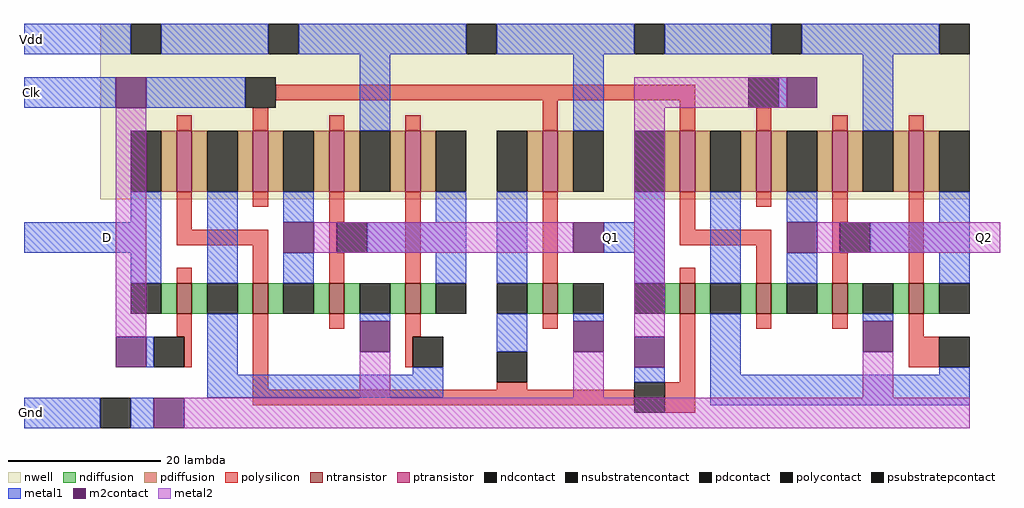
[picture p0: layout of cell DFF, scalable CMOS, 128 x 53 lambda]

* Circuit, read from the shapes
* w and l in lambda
.subckt DFF Clk D Gnd Q1 Q2 Vdd
M1 n1 Clk D Gnd nfet w=4 l=2
M2 Q1 n2 n1 Gnd nfet w=4 l=2
M3 Gnd n3 Q1 Gnd nfet w=4 l=2
M4 n3 n1 Gnd Gnd nfet w=4 l=2
M5 Gnd Clk n2 Gnd nfet w=4 l=2
M6 n4 n2 Q1 Gnd nfet w=4 l=2
M7 Q2 Clk n4 Gnd nfet w=4 l=2
M8 Gnd n5 Q2 Gnd nfet w=4 l=2
M9 n5 n4 Gnd Gnd nfet w=4 l=2
M10 n1 n2 D Vdd pfet w=8 l=2
M11 Q1 Clk n1 Vdd pfet w=8 l=2
M12 Vdd n3 Q1 Vdd pfet w=8 l=2
M13 n3 n1 Vdd Vdd pfet w=8 l=2
M14 Vdd Clk n2 Vdd pfet w=8 l=2
M15 n4 Clk Q1 Vdd pfet w=8 l=2
M16 Q2 n2 n4 Vdd pfet w=8 l=2
M17 Vdd n5 Q2 Vdd pfet w=8 l=2
M18 n5 n4 Vdd Vdd pfet w=8 l=2
.ends

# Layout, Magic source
magic
tech scmos
<< nwell >>
rect 147 56 261 79
<< polysilicon >>
rect 170 69 225 71
rect 157 65 159 67
rect 167 65 169 68
rect 177 65 179 67
rect 187 65 189 67
rect 205 65 207 69
rect 223 65 225 69
rect 233 65 235 68
rect 243 65 245 67
rect 253 65 255 67
rect 157 52 159 57
rect 167 55 169 57
rect 177 53 179 57
rect 157 50 169 52
rect 157 45 159 47
rect 167 45 169 50
rect 177 49 178 53
rect 177 45 179 49
rect 187 45 189 57
rect 205 45 207 57
rect 223 52 225 57
rect 233 55 235 57
rect 243 53 245 57
rect 223 50 235 52
rect 223 45 225 47
rect 233 45 235 50
rect 243 49 244 53
rect 243 45 245 49
rect 253 45 255 57
rect 157 38 159 41
rect 158 34 159 38
rect 167 31 169 41
rect 177 39 179 41
rect 187 38 189 41
rect 205 39 207 41
rect 187 34 188 38
rect 223 32 225 41
rect 233 39 235 41
rect 243 39 245 41
rect 253 38 255 41
rect 253 34 257 38
rect 199 31 203 32
rect 167 29 217 31
rect 221 28 225 32
<< ndiffusion >>
rect 155 41 157 45
rect 159 41 161 45
rect 165 41 167 45
rect 169 41 171 45
rect 175 41 177 45
rect 179 41 181 45
rect 185 41 187 45
rect 189 41 191 45
rect 203 41 205 45
rect 207 41 209 45
rect 221 41 223 45
rect 225 41 227 45
rect 231 41 233 45
rect 235 41 237 45
rect 241 41 243 45
rect 245 41 247 45
rect 251 41 253 45
rect 255 41 257 45
<< pdiffusion >>
rect 155 57 157 65
rect 159 57 161 65
rect 165 57 167 65
rect 169 57 171 65
rect 175 57 177 65
rect 179 57 181 65
rect 185 57 187 65
rect 189 57 191 65
rect 203 57 205 65
rect 207 57 209 65
rect 221 57 223 65
rect 225 57 227 65
rect 231 57 233 65
rect 235 57 237 65
rect 241 57 243 65
rect 245 57 247 65
rect 251 57 253 65
rect 255 57 257 65
<< metal1 >>
rect 137 75 151 79
rect 155 75 169 79
rect 173 75 195 79
rect 199 75 217 79
rect 221 75 235 79
rect 239 75 257 79
rect 137 68 149 72
rect 153 68 166 72
rect 181 65 185 75
rect 209 65 213 75
rect 236 68 237 72
rect 247 65 251 75
rect 151 53 155 57
rect 137 49 155 53
rect 151 45 155 49
rect 161 45 165 57
rect 171 53 175 57
rect 191 53 195 57
rect 182 49 195 53
rect 171 45 175 49
rect 191 45 195 49
rect 199 45 203 57
rect 217 53 221 57
rect 213 49 221 53
rect 217 45 221 49
rect 153 34 154 38
rect 161 33 165 41
rect 181 40 185 41
rect 188 33 192 34
rect 161 30 192 33
rect 199 36 203 41
rect 227 45 231 57
rect 237 53 241 57
rect 257 53 261 57
rect 248 49 261 53
rect 237 45 241 49
rect 257 45 261 49
rect 209 40 213 41
rect 217 32 221 34
rect 137 26 147 30
rect 151 26 154 30
rect 227 33 231 41
rect 247 40 251 41
rect 257 33 261 34
rect 227 29 261 33
<< metal2 >>
rect 149 38 153 68
rect 217 68 237 72
rect 175 49 209 53
rect 181 30 185 36
rect 209 30 213 36
rect 217 38 221 68
rect 241 49 265 53
rect 247 30 251 36
rect 158 26 261 30
<< ntransistor >>
rect 157 41 159 45
rect 167 41 169 45
rect 177 41 179 45
rect 187 41 189 45
rect 205 41 207 45
rect 223 41 225 45
rect 233 41 235 45
rect 243 41 245 45
rect 253 41 255 45
<< ptransistor >>
rect 157 57 159 65
rect 167 57 169 65
rect 177 57 179 65
rect 187 57 189 65
rect 205 57 207 65
rect 223 57 225 65
rect 233 57 235 65
rect 243 57 245 65
rect 253 57 255 65
<< polycontact >>
rect 166 68 170 72
rect 232 68 236 72
rect 178 49 182 53
rect 244 49 248 53
rect 154 34 158 38
rect 188 34 192 38
rect 199 32 203 36
rect 257 34 261 38
rect 217 28 221 32
<< ndcontact >>
rect 151 41 155 45
rect 161 41 165 45
rect 171 41 175 45
rect 181 41 185 45
rect 191 41 195 45
rect 199 41 203 45
rect 209 41 213 45
rect 217 41 221 45
rect 227 41 231 45
rect 237 41 241 45
rect 247 41 251 45
rect 257 41 261 45
<< pdcontact >>
rect 151 57 155 65
rect 161 57 165 65
rect 171 57 175 65
rect 181 57 185 65
rect 191 57 195 65
rect 199 57 203 65
rect 209 57 213 65
rect 217 57 221 65
rect 227 57 231 65
rect 237 57 241 65
rect 247 57 251 65
rect 257 57 261 65
<< m2contact >>
rect 149 68 153 72
rect 237 68 241 72
rect 171 49 175 53
rect 209 49 213 53
rect 149 34 153 38
rect 181 36 185 40
rect 237 49 241 53
rect 209 36 213 40
rect 217 34 221 38
rect 154 26 158 30
rect 247 36 251 40
<< psubstratepcontact >>
rect 147 26 151 30
<< nsubstratencontact >>
rect 151 75 155 79
rect 169 75 173 79
rect 195 75 199 79
rect 217 75 221 79
rect 235 75 239 79
rect 257 75 261 79
<< labels >>
rlabel metal1 138 77 138 77 4 Vdd
rlabel metal1 138 70 138 70 3 Clk
rlabel metal1 138 28 138 28 2 Gnd
rlabel metal1 148 51 148 51 3 D
rlabel metal1 214 51 214 51 7 Q1
rlabel metal2 263 51 263 51 7 Q2
<< end >>
